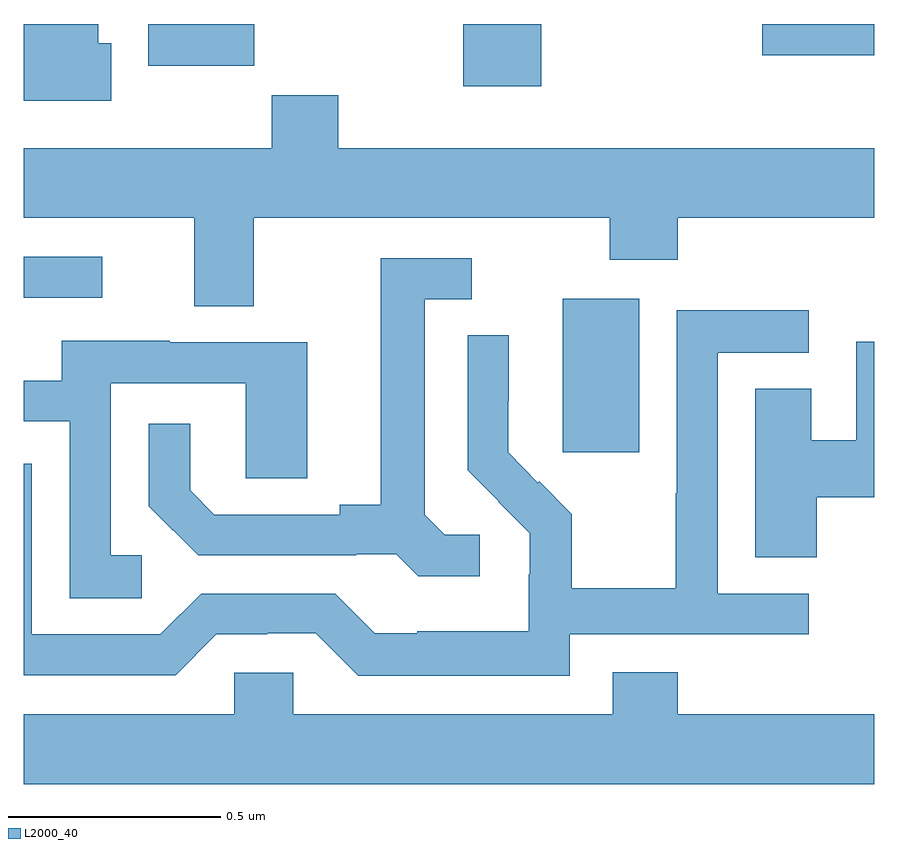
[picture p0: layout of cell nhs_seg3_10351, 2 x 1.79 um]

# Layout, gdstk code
import gdstk
lib = gdstk.Library(unit=1e-6, precision=1e-09)
def R(c, l, rs):  # rectangles x0, y0, x1, y1
    for r in rs: c.add(gdstk.rectangle(r[:2], r[2:], *l))
def P(c, l, *ps):  # polygons
    for p in ps: c.add(gdstk.Polygon(p, *l))
L2000_40 = (2000, 40)

nhs_seg3_10351 = lib.new_cell('nhs_seg3_10351')
R(nhs_seg3_10351, L2000_40, [(241.268,672.393,241.447,672.754), (240,672.756,240.184,672.852), (241.034,673.254,241.217,673.4), (240.293,673.302,240.542,673.4), (241.737,673.327,242,673.4)])
P(nhs_seg3_10351, L2000_40, [(240.205,673.355),(240.175,673.355),(240.175,673.4),(240,673.4),(240,673.22),(240.205,673.22)],
  [(240.541,672.944),(241.378,672.944),(241.378,672.845),(241.538,672.845),(241.538,672.944),(242,672.944),(242,673.108),(240.74,673.108),(240.74,673.232),(240.583,673.232),(240.583,673.108),(240,673.108),(240,672.944),(240.401,672.944),(240.401,672.736),(240.541,672.736)],
  [(241.072,672.198),(240.99,672.198),(240.943,672.245),(240.943,672.753),(241.054,672.753),(241.054,672.849),(240.839,672.849),(240.839,672.269),(240.743,672.269),(240.743,672.246),(240.448,672.246),(240.391,672.303),(240.391,672.46),(240.294,672.46),(240.294,672.266),(240.41,672.15),(240.782,672.15),(240.782,672.153),(240.876,672.153),(240.928,672.101),(241.072,672.101)],
  [(241.284,671.964),(241.846,671.964),(241.846,672.06),(241.632,672.06),(241.632,672.627),(241.846,672.627),(241.846,672.726),(241.536,672.726),(241.536,672.296),(241.534,672.296),(241.534,672.073),(241.289,672.073),(241.289,672.247),(241.212,672.324),(241.209,672.321),(241.139,672.392),(241.139,672.514),(241.14,672.514),(241.14,672.668),(241.044,672.668),(241.044,672.35),(241.117,672.277),(241.116,672.276),(241.19,672.202),(241.19,672.105),(241.188,672.105),(241.188,671.971),(240.925,671.971),(240.925,671.967),(240.825,671.967),(240.732,672.06),(240.417,672.06),(240.321,671.964),(240.018,671.964),(240.018,672.366),(240,672.366),(240,671.868),(240.357,671.868),(240.453,671.964),(240.572,671.964),(240.572,671.967),(240.687,671.967),(240.787,671.867),(241.284,671.867)],
  [(240.277,672.15),(240.204,672.15),(240.204,672.555),(240.522,672.555),(240.522,672.331),(240.667,672.331),(240.667,672.651),(240.343,672.651),(240.343,672.655),(240.089,672.655),(240.089,672.561),(240,672.561),(240,672.465),(240.108,672.465),(240.108,672.049),(240.277,672.049)],
  [(241.865,672.287),(242,672.287),(242,672.652),(241.958,672.652),(241.958,672.421),(241.852,672.421),(241.852,672.542),(241.721,672.542),(241.721,672.145),(241.865,672.145)],
  [(242,671.776),(241.538,671.776),(241.538,671.875),(241.385,671.875),(241.385,671.776),(240.633,671.776),(240.633,671.874),(240.495,671.874),(240.495,671.776),(240,671.776),(240,671.612),(242,671.612)])

lib.write_gds('nhs_seg3_10351.gds')
